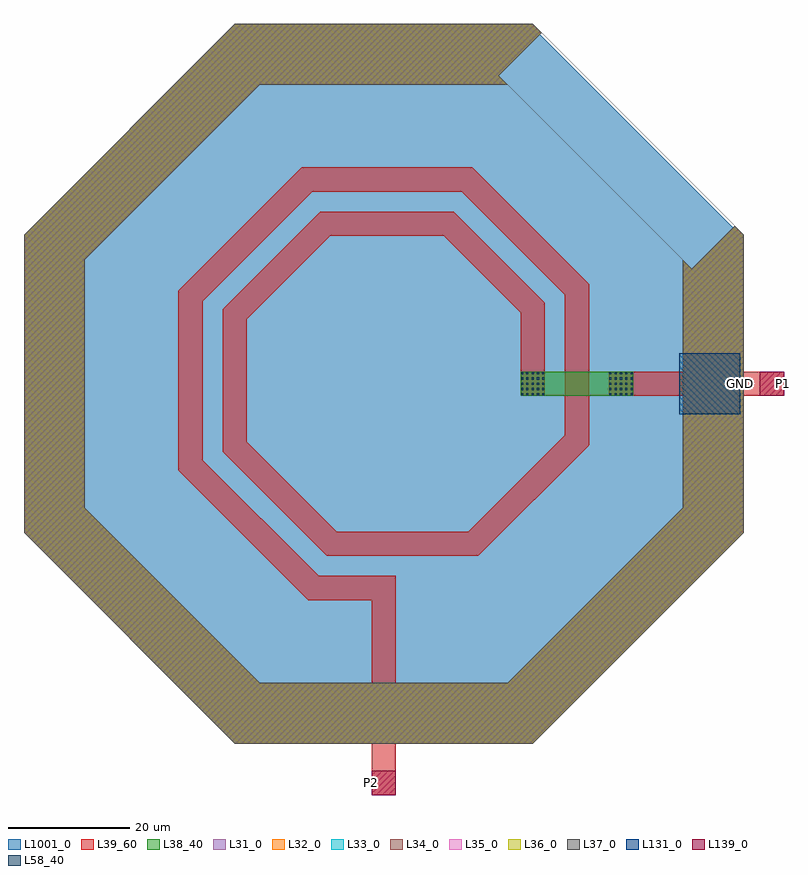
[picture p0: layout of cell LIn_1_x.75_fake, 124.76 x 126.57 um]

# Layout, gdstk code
import gdstk
lib = gdstk.Library(unit=1e-6, precision=1e-09)
def R(c, l, rs):  # rectangles x0, y0, x1, y1
    for r in rs: c.add(gdstk.rectangle(r[:2], r[2:], *l))
def A(c, l, x, y, w, h, nx, ny, dx, dy):  # array of equal rectangles
    R(c, l, [(x+i*dx, y+j*dy, x+i*dx+w, y+j*dy+h) for i in range(nx) for j in range(ny)])
def P(c, l, *ps):  # polygons
    for p in ps: c.add(gdstk.Polygon(p, *l))
L31_0 = (31, 0)
L32_0 = (32, 0)
L33_0 = (33, 0)
L34_0 = (34, 0)
L35_0 = (35, 0)
L36_0 = (36, 0)
L37_0 = (37, 0)
L38_40 = (38, 40)
L39_60 = (39, 60)
L58_40 = (58, 40)
L131_0 = (131, 0)
L139_0 = (139, 0)
L1001_0 = (1001, 0)

lin_1_x_75_fake = lib.new_cell('LIn_1_x.75_fake')
P(lin_1_x_75_fake, L31_0, [(50.521,18.855),(57.592,25.926),(24.462,59.056),(-24.462,59.056),(-59.056,24.462),(-59.056,-24.462),(-24.462,-59.056),(24.462,-59.056),(59.056,-24.462),(59.056,24.462),(25.926,57.592),(18.855,50.521),(49.056,20.32),(49.056,-20.32),(20.32,-49.056),(-20.32,-49.056),(-49.056,-20.32),(-49.056,20.32),(-20.32,49.056),(20.32,49.056)])
P(lin_1_x_75_fake, L32_0, [(50.521,18.855),(57.592,25.926),(24.462,59.056),(-24.462,59.056),(-59.056,24.462),(-59.056,-24.462),(-24.462,-59.056),(24.462,-59.056),(59.056,-24.462),(59.056,24.462),(25.926,57.592),(18.855,50.521),(49.056,20.32),(49.056,-20.32),(20.32,-49.056),(-20.32,-49.056),(-49.056,-20.32),(-49.056,20.32),(-20.32,49.056),(20.32,49.056)])
P(lin_1_x_75_fake, L33_0, [(50.521,18.855),(57.592,25.926),(24.462,59.056),(-24.462,59.056),(-59.056,24.462),(-59.056,-24.462),(-24.462,-59.056),(24.462,-59.056),(59.056,-24.462),(59.056,24.462),(25.926,57.592),(18.855,50.521),(49.056,20.32),(49.056,-20.32),(20.32,-49.056),(-20.32,-49.056),(-49.056,-20.32),(-49.056,20.32),(-20.32,49.056),(20.32,49.056)])
P(lin_1_x_75_fake, L34_0, [(50.521,18.855),(57.592,25.926),(24.462,59.056),(-24.462,59.056),(-59.056,24.462),(-59.056,-24.462),(-24.462,-59.056),(24.462,-59.056),(59.056,-24.462),(59.056,24.462),(25.926,57.592),(18.855,50.521),(49.056,20.32),(49.056,-20.32),(20.32,-49.056),(-20.32,-49.056),(-49.056,-20.32),(-49.056,20.32),(-20.32,49.056),(20.32,49.056)])
P(lin_1_x_75_fake, L35_0, [(50.521,18.855),(57.592,25.926),(24.462,59.056),(-24.462,59.056),(-59.056,24.462),(-59.056,-24.462),(-24.462,-59.056),(24.462,-59.056),(59.056,-24.462),(59.056,24.462),(25.926,57.592),(18.855,50.521),(49.056,20.32),(49.056,-20.32),(20.32,-49.056),(-20.32,-49.056),(-49.056,-20.32),(-49.056,20.32),(-20.32,49.056),(20.32,49.056)])
P(lin_1_x_75_fake, L36_0, [(50.521,18.855),(57.592,25.926),(24.462,59.056),(-24.462,59.056),(-59.056,24.462),(-59.056,-24.462),(-24.462,-59.056),(24.462,-59.056),(59.056,-24.462),(59.056,24.462),(25.926,57.592),(18.855,50.521),(49.056,20.32),(49.056,-20.32),(20.32,-49.056),(-20.32,-49.056),(-49.056,-20.32),(-49.056,20.32),(-20.32,49.056),(20.32,49.056)])
P(lin_1_x_75_fake, L37_0, [(50.521,18.855),(57.592,25.926),(24.462,59.056),(-24.462,59.056),(-59.056,24.462),(-59.056,-24.462),(-24.462,-59.056),(24.462,-59.056),(59.056,-24.462),(59.056,24.462),(25.926,57.592),(18.855,50.521),(49.056,20.32),(49.056,-20.32),(20.32,-49.056),(-20.32,-49.056),(-49.056,-20.32),(-49.056,20.32),(-20.32,49.056),(20.32,49.056)])
R(lin_1_x_75_fake, L38_40, [(22.45,-2,40.95,2)])
P(lin_1_x_75_fake, L38_40, [(50.521,18.855),(57.592,25.926),(24.462,59.056),(-24.462,59.056),(-59.056,24.462),(-59.056,-24.462),(-24.462,-59.056),(24.462,-59.056),(59.056,-24.462),(59.056,24.462),(25.926,57.592),(18.855,50.521),(49.056,20.32),(49.056,-20.32),(20.32,-49.056),(-20.32,-49.056),(-49.056,-20.32),(-49.056,20.32),(-20.32,49.056),(20.32,49.056)])
R(lin_1_x_75_fake, L39_60, [(-2,-67.51,2,-31.51), (36.95,-2,65.7,2)])
P(lin_1_x_75_fake, L39_60, [(22.45,-2),(26.45,-2),(26.45,13.299),(11.483,28.26),(-10.423,28.26),(-26.45,12.239),(-26.45,-11.173),(-9.363,-28.26),(15.548,-28.26),(33.7,-10.114),(33.7,16.304),(14.488,35.51),(-13.428,35.51),(-33.7,15.238),(-33.7,-14.179),(-12.363,-35.51),(0,-35.51),(0,-31.51),(-10.707,-31.51),(-29.7,-12.521),(-29.7,13.582),(-11.772,31.51),(12.832,31.51),(29.7,14.646),(29.7,-8.456),(13.892,-24.26),(-7.707,-24.26),(-22.45,-9.517),(-22.45,10.581),(-8.767,24.26),(9.827,24.26),(22.45,11.641)],
  [(50.521,18.855),(57.592,25.926),(24.462,59.056),(-24.462,59.056),(-59.056,24.462),(-59.056,-24.462),(-24.462,-59.056),(24.462,-59.056),(59.056,-24.462),(59.056,24.462),(25.926,57.592),(18.855,50.521),(49.056,20.32),(49.056,-20.32),(20.32,-49.056),(-20.32,-49.056),(-49.056,-20.32),(-49.056,20.32),(-20.32,49.056),(20.32,49.056)])
A(lin_1_x_75_fake, L58_40, 22.533, -1.915, 0.35, 0.35, 5, 5, 0.87, 0.87)
A(lin_1_x_75_fake, L58_40, 37.033, -1.915, 0.35, 0.35, 5, 5, 0.87, 0.87)
R(lin_1_x_75_fake, L131_0, [(48.51,-5,58.51,5)])
R(lin_1_x_75_fake, L139_0, [(-2,-67.51,2,-63.51), (61.7,-2,65.7,2)])
P(lin_1_x_75_fake, L1001_0, [(58.676,24.304),(24.304,58.676),(-24.304,58.676),(-58.676,24.304),(-58.676,-24.304),(-24.304,-58.676),(24.304,-58.676),(58.676,-24.304)],
  [(58.676,24.304),(24.304,58.676),(-24.304,58.676),(-58.676,24.304),(-58.676,-24.304),(-24.304,-58.676),(24.304,-58.676),(58.676,-24.304)],
  [(58.676,24.304),(24.304,58.676),(-24.304,58.676),(-58.676,24.304),(-58.676,-24.304),(-24.304,-58.676),(24.304,-58.676),(58.676,-24.304)],
  [(58.676,24.304),(24.304,58.676),(-24.304,58.676),(-58.676,24.304),(-58.676,-24.304),(-24.304,-58.676),(24.304,-58.676),(58.676,-24.304)],
  [(58.676,24.304),(24.304,58.676),(-24.304,58.676),(-58.676,24.304),(-58.676,-24.304),(-24.304,-58.676),(24.304,-58.676),(58.676,-24.304)],
  [(58.676,24.304),(24.304,58.676),(-24.304,58.676),(-58.676,24.304),(-58.676,-24.304),(-24.304,-58.676),(24.304,-58.676),(58.676,-24.304)],
  [(58.676,24.304),(24.304,58.676),(-24.304,58.676),(-58.676,24.304),(-58.676,-24.304),(-24.304,-58.676),(24.304,-58.676),(58.676,-24.304)],
  [(58.676,24.304),(24.304,58.676),(-24.304,58.676),(-58.676,24.304),(-58.676,-24.304),(-24.304,-58.676),(24.304,-58.676),(58.676,-24.304)],
  [(58.676,24.304),(24.304,58.676),(-24.304,58.676),(-58.676,24.304),(-58.676,-24.304),(-24.304,-58.676),(24.304,-58.676),(58.676,-24.304)])
lin_1_x_75_fake.add(gdstk.Label('P1', (65.698,0), layer=139, texttype=0))
lin_1_x_75_fake.add(gdstk.Label('P2', (-2,-65.51), layer=139, texttype=0))
lin_1_x_75_fake.add(gdstk.Label('GND', (58.51,0), layer=131, texttype=0))

lib.write_gds('LIn_1_x.75_fake.gds')
